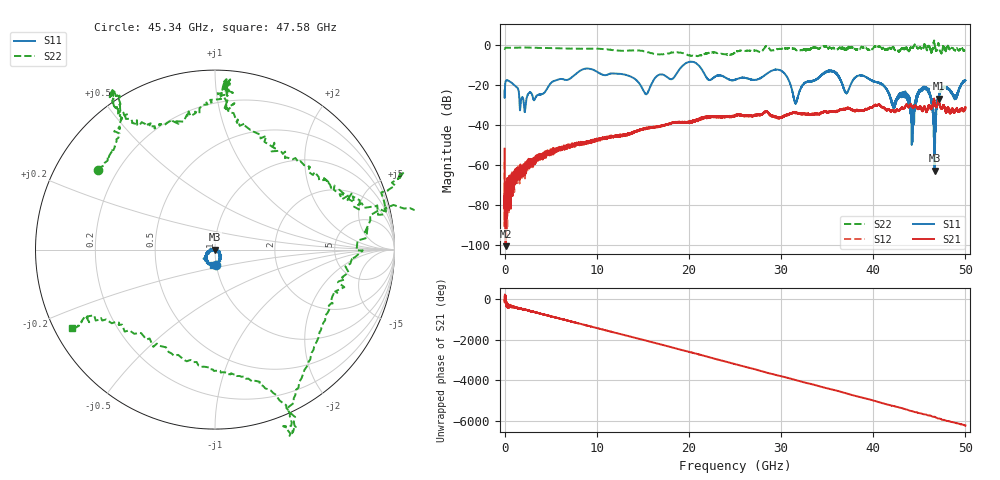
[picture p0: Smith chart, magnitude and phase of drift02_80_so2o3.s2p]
!Created with skrf (http://scikit-rf.org).
# Hz S RI R 50.0
!freq ReS11 ImS11 ReS21 ImS21 ReS12 ImS12 ReS22 ImS22
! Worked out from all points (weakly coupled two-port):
!   10001 points, 300 kHz to 50 GHz, reference 50 ohm
!   highest |S21| = -26.87 dB at 47.1 GHz (marker M1); lowest = -100.4 dB at 105.3 MHz (marker M2)
!   lowest |S11| = -62.8 dB at 46.65 GHz (marker M3), VSWR 1.00, Z = 49.9 + j0.0396 ohm
!   |S11| at or under -10 dB: start of sweep to 19.43 GHz; 21.00351 GHz to 21.00861 GHz (5.107 MHz wide, 0.0243 % of centre); 21.01 GHz to end of sweep
!   |S22| runs from -5.7 to 2.2 dB; largest |S21 - S12| = 0.0037
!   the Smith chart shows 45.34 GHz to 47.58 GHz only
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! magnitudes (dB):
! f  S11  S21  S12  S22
! 300 kHz  -22.7  -51.8  -58.4  -2.0
! 105.3 MHz  -18.2  -100.4  -73.8  -1.5
! 255.3 MHz  -17.6  -86.5  -74.9  -1.4
! 2.19 GHz  -33.5  -62.9  -62.5  -1.3
! 8.335 GHz  -12.5  -48.4  -49.8  -1.9
! 15.34 GHz  -24.6  -41.6  -41.6  -3.3
! 16.67 GHz  -15.1  -40.9  -40.8  -4.7
! 20.31 GHz  -8.4  -38.4  -37.9  -5.5
! 25 GHz  -17.4  -35.5  -35.1  -3.9
! 29.83 GHz  -12.6  -36.4  -36.5  -2.0
! 31.59 GHz  -28.8  -33.7  -33.9  -2.4
! 33.34 GHz  -18.0  -34.3  -34.4  -1.6
! 35.59 GHz  -13.3  -33.3  -33.2  -1.6
! 37.1 GHz  -24.2  -31.6  -31.7  -2.3
! 38.75 GHz  -15.2  -32.8  -32.7  -0.9
! 41.67 GHz  -23.9  -32.2  -32.3  -1.9
! 43.56 GHz  -25.4  -30.1  -29.9  -1.1
! 44.27 GHz  -44.2  -31.2  -31.2  -1.5
! 45.72 GHz  -21.5  -32.6  -32.7  -0.9
! 46.65 GHz  -62.8  -27.7  -28.1  0.7
! 47.1 GHz  -25.7  -26.9  -27.3  0.6
! 50 GHz  -17.8  -31.2  -32.2  -2.8
